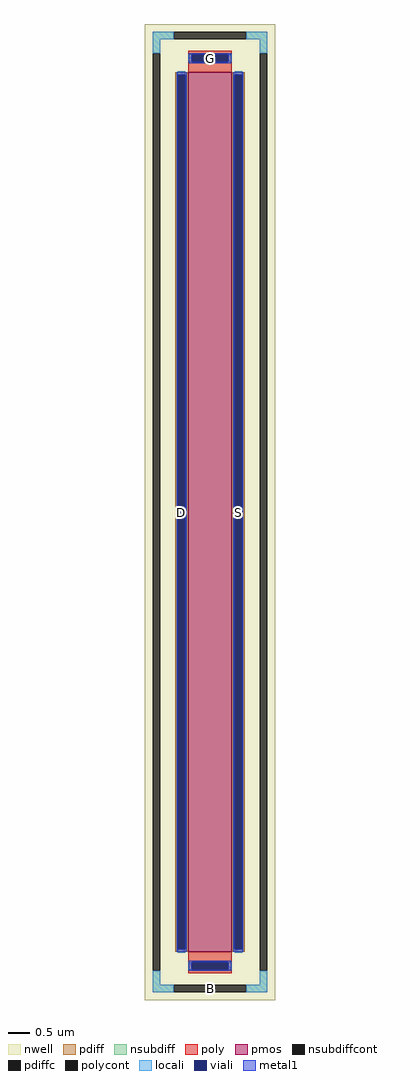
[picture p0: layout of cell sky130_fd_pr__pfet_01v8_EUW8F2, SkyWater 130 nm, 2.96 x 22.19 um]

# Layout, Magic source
magic
tech sky130A
magscale 1 2
<< nwell >>
rect -296 -2219 296 2219
<< pmos >>
rect -100 -2000 100 2000
<< pdiff >>
rect -158 1988 -100 2000
rect -158 -1988 -146 1988
rect -112 -1988 -100 1988
rect -158 -2000 -100 -1988
rect 100 1988 158 2000
rect 100 -1988 112 1988
rect 146 -1988 158 1988
rect 100 -2000 158 -1988
<< pdiffc >>
rect -146 -1988 -112 1988
rect 112 -1988 146 1988
<< nsubdiff >>
rect -260 2149 -164 2183
rect 164 2149 260 2183
rect -260 2087 -226 2149
rect 226 2087 260 2149
rect -260 -2149 -226 -2087
rect 226 -2149 260 -2087
rect -260 -2183 -164 -2149
rect 164 -2183 260 -2149
<< nsubdiffcont >>
rect -164 2149 164 2183
rect -260 -2087 -226 2087
rect 226 -2087 260 2087
rect -164 -2183 164 -2149
<< poly >>
rect -100 2081 100 2097
rect -100 2047 -84 2081
rect 84 2047 100 2081
rect -100 2000 100 2047
rect -100 -2047 100 -2000
rect -100 -2081 -84 -2047
rect 84 -2081 100 -2047
rect -100 -2097 100 -2081
<< polycont >>
rect -84 2047 84 2081
rect -84 -2081 84 -2047
<< locali >>
rect -260 2149 -164 2183
rect 164 2149 260 2183
rect -260 2087 -226 2149
rect 226 2087 260 2149
rect -100 2047 -84 2081
rect 84 2047 100 2081
rect -146 1988 -112 2004
rect -146 -2004 -112 -1988
rect 112 1988 146 2004
rect 112 -2004 146 -1988
rect -100 -2081 -84 -2047
rect 84 -2081 100 -2047
rect -260 -2149 -226 -2087
rect 226 -2149 260 -2087
rect -260 -2183 -164 -2149
rect 164 -2183 260 -2149
<< viali >>
rect -84 2047 84 2081
rect -146 -1988 -112 1988
rect 112 -1988 146 1988
rect -84 -2081 84 -2047
<< metal1 >>
rect -96 2081 96 2087
rect -96 2047 -84 2081
rect 84 2047 96 2081
rect -96 2041 96 2047
rect -152 1988 -106 2000
rect -152 -1988 -146 1988
rect -112 -1988 -106 1988
rect -152 -2000 -106 -1988
rect 106 1988 152 2000
rect 106 -1988 112 1988
rect 146 -1988 152 1988
rect 106 -2000 152 -1988
rect -96 -2047 96 -2041
rect -96 -2081 -84 -2047
rect 84 -2081 96 -2047
rect -96 -2087 96 -2081
<< labels >>
rlabel nsubdiffcont 0 -2166 0 -2166 0 B
port 1 nsew
rlabel pdiffc -129 0 -129 0 0 D
port 2 nsew
rlabel pdiffc 129 0 129 0 0 S
port 3 nsew
rlabel polycont 0 2064 0 2064 0 G
port 4 nsew
<< properties >>
string FIXED_BBOX -243 -2166 243 2166
string gencell sky130_fd_pr__pfet_01v8
string library sky130
string parameters w 20.0 l 1.0 m 1 nf 1 diffcov 100 polycov 100 guard 1 glc 1 grc 1 gtc 1 gbc 1 tbcov 100 rlcov 100 topc 1 botc 1 poverlap 0 doverlap 1 lmin 0.15 wmin 0.42 class mosfet compatible {sky130_fd_pr__pfet_01v8  sky130_fd_pr__pfet_01v8_lvt sky130_fd_pr__pfet_01v8_hvt  sky130_fd_pr__pfet_g5v0d10v5} full_metal 1 conn_gates 0 viasrc 100 viadrn 100 viagate 100 viagb 0 viagr 0 viagl 0 viagt 0 doports 1
<< end >>
